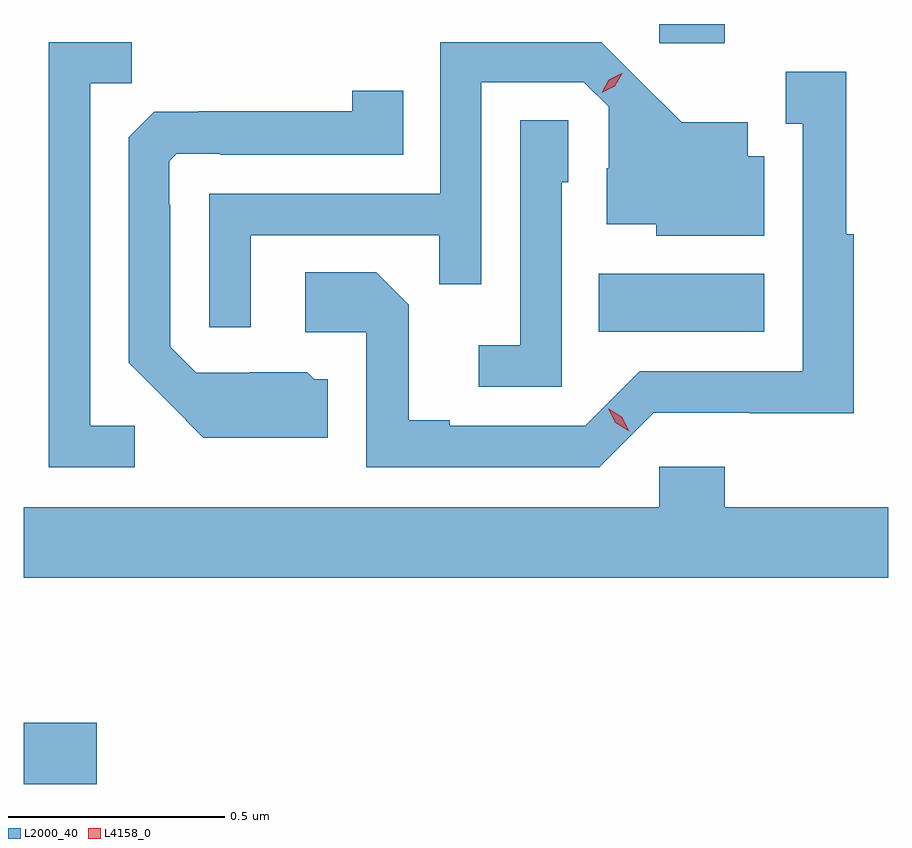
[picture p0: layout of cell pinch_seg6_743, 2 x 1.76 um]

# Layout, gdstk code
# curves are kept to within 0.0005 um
import gdstk
lib = gdstk.Library(unit=1e-6, precision=1e-09)
def R(c, l, rs):  # rectangles x0, y0, x1, y1
    for r in rs: c.add(gdstk.rectangle(r[:2], r[2:], *l))
def P(c, l, *ps):  # polygons
    for p in ps: c.add(gdstk.Polygon(p, *l))
L2000_40 = (2000, 40)
L4158_0 = (4158, 0)

pinch_seg6_743 = lib.new_cell('pinch_seg6_743')
R(pinch_seg6_743, L2000_40, [(596.91,946.859,597.079,947.001), (598.24,947.906,598.624,948.04), (598.38,948.573,598.532,948.618)])
P(pinch_seg6_743, L2000_40, [(597.435,948.129),(597.871,948.129),(597.871,948.016),(597.969,948.016),(597.969,948.483),(598.206,948.483),(598.263,948.426),(598.263,948.284),(598.259,948.284),(598.259,948.155),(598.374,948.155),(598.374,948.128),(598.624,948.128),(598.624,948.312),(598.585,948.312),(598.585,948.391),(598.433,948.391),(598.246,948.576),(597.873,948.576),(597.873,948.225),(597.339,948.225),(597.339,947.916),(597.435,947.916)],
  [(597.166,947.688),(597.063,947.688),(597.063,948.481),(597.159,948.481),(597.159,948.576),(596.967,948.576),(596.967,947.592),(597.166,947.592)],
  [(598.368,947.718),(598.59,947.718),(598.59,947.717),(598.831,947.717),(598.831,948.131),(598.813,948.131),(598.813,948.508),(598.673,948.508),(598.673,948.387),(598.712,948.387),(598.712,947.814),(598.335,947.814),(598.209,947.688),(597.895,947.688),(597.895,947.701),(597.801,947.701),(597.801,947.968),(597.725,948.044),(597.561,948.044),(597.561,947.904),(597.702,947.904),(597.702,947.592),(598.242,947.592)],
  [(597.613,947.796),(597.582,947.796),(597.566,947.812),(597.432,947.812),(597.432,947.811),(597.309,947.811),(597.249,947.871),(597.249,948.2),(597.246,948.2),(597.246,948.3),(597.264,948.318),(597.364,948.318),(597.364,948.315),(597.788,948.315),(597.788,948.463),(597.67,948.463),(597.67,948.416),(597.313,948.416),(597.313,948.415),(597.212,948.415),(597.153,948.356),(597.153,947.834),(597.325,947.66),(597.613,947.66)],
  [(598.155,948.252),(598.17,948.252),(598.17,948.395),(598.059,948.395),(598.059,947.875),(597.963,947.875),(597.963,947.778),(598.155,947.778)],
  [(598.91,947.5),(598.532,947.5),(598.532,947.593),(598.38,947.593),(598.38,947.5),(596.91,947.5),(596.91,947.336),(598.91,947.336)])
P(pinch_seg6_743, L4158_0, [(598.311,947.676),(598.279,947.695),(598.262,947.728),(598.262,947.728),(598.263,947.728),(598.294,947.709),(598.311,947.676),(598.311,947.676)],
  [(598.247,948.459),(598.247,948.459),(598.264,948.489),(598.294,948.504),(598.295,948.504),(598.295,948.504),(598.278,948.474),(598.247,948.459)])

lib.write_gds('pinch_seg6_743.gds')
